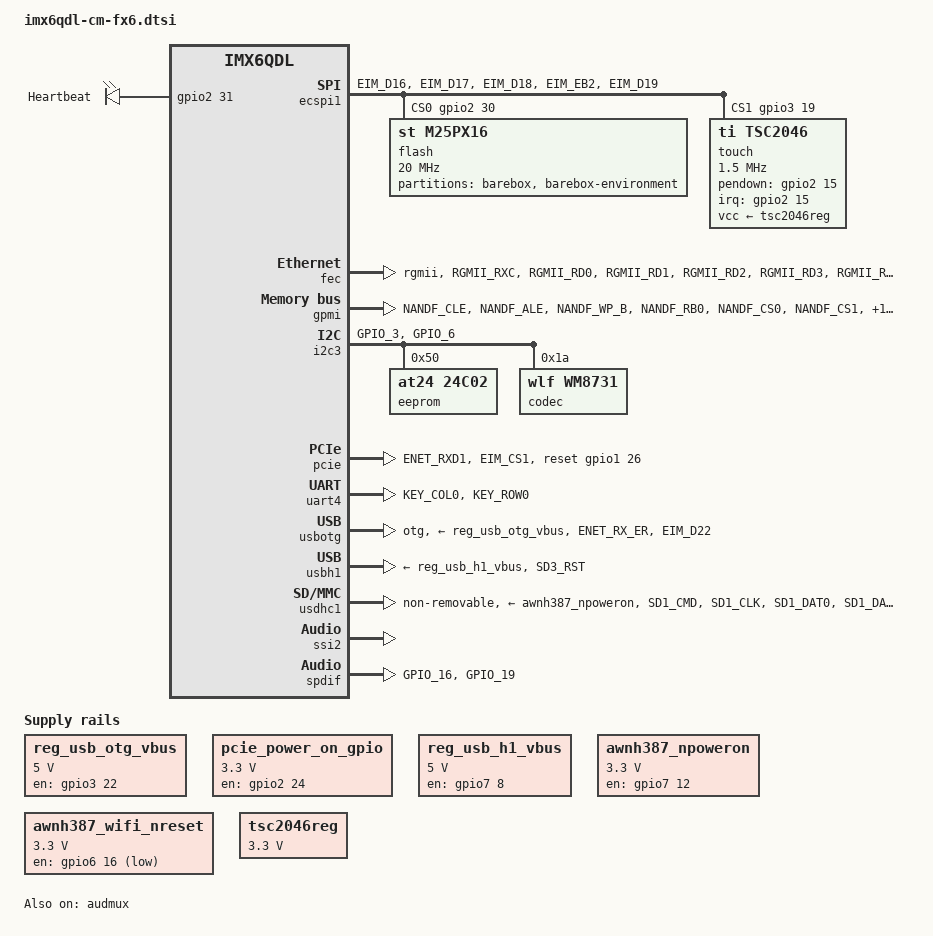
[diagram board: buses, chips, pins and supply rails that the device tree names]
/*
 * Copyright 2014 CompuLab Ltd.
 *
 * Author: Valentin Raevsky <valentin@compulab.co.il>
 *
 * The code contained herein is licensed under the GNU General Public
 * License. You may obtain a copy of the GNU General Public License
 * Version 2 or later at the following locations:
 *
 * http://www.opensource.org/licenses/gpl-license.html
 * http://www.gnu.org/copyleft/gpl.html
 */

/ {
	barebox_environment {
		compatible = "barebox,environment";
		device-path = &barebox_env;
	};

	leds {
		compatible = "gpio-leds";
		heartbeat-led {
			label = "Heartbeat";
			gpios = <&gpio2 31 0>;
			linux,default-trigger = "heartbeat";
		};
	};

	/* regulator for usb otg */
	reg_usb_otg_vbus: usb_otg_vbus {
		compatible = "regulator-fixed";
		regulator-name = "usb_otg_vbus";
		regulator-min-microvolt = <5000000>;
		regulator-max-microvolt = <5000000>;
		gpio = <&gpio3 22 0>;
		enable-active-high;
	};

	/* regulator1 for pcie power-on-gpio */
	pcie_power_on_gpio: regulator-pcie-power-on-gpio {
		compatible = "regulator-fixed";
		regulator-name = "regulator-pcie-power-on-gpio";
		regulator-min-microvolt = <3300000>;
		regulator-max-microvolt = <3300000>;
		gpio = <&gpio2 24 0>;
		enable-active-high;
	};

	/* regulator for usb hub1 */
	reg_usb_h1_vbus: usb_h1_vbus {
		compatible = "regulator-fixed";
		regulator-name = "usb_h1_vbus";
		regulator-min-microvolt = <5000000>;
		regulator-max-microvolt = <5000000>;
		gpio = <&gpio7 8 0>;
		enable-active-high;
	};

	/* regulator1 for wifi/bt */
	awnh387_npoweron: regulator-awnh387-npoweron {
		compatible = "regulator-fixed";
		regulator-name = "regulator-awnh387-npoweron";
		regulator-min-microvolt = <3300000>;
		regulator-max-microvolt = <3300000>;
		gpio = <&gpio7 12 0>;
		enable-active-high;
	};

	/* regulator2 for wifi/bt */
	awnh387_wifi_nreset: regulator-awnh387-wifi-nreset {
		compatible = "regulator-fixed";
		regulator-name = "regulator-awnh387-wifi-nreset";
		regulator-min-microvolt = <3300000>;
		regulator-max-microvolt = <3300000>;
		gpio = <&gpio6 16 0>;
		startup-delay-us = <10000>;
	};

	tsc2046reg: tsc2046-reg {
		compatible = "regulator-fixed";
		regulator-name = "tsc2046-reg";
		regulator-min-microvolt = <3300000>;
		regulator-max-microvolt = <3300000>;
	};
};

&iomuxc {
	pinctrl-names = "default";
	pinctrl-0 = <&pinctrl_hog>;

	hog {
		pinctrl_hog: hoggrp {
			fsl,pins = <
				/* SATA PWR */
				MX6QDL_PAD_ENET_TX_EN__GPIO1_IO28 0x80000000
				MX6QDL_PAD_EIM_A22__GPIO2_IO16 0x80000000
				MX6QDL_PAD_EIM_D20__GPIO3_IO20 0x80000000
				MX6QDL_PAD_EIM_A25__GPIO5_IO02 0x80000000
				/* SATA CTRL */
				MX6QDL_PAD_ENET_TXD0__GPIO1_IO30 0x80000000
				MX6QDL_PAD_EIM_D29__GPIO3_IO29 0x80000000
				MX6QDL_PAD_EIM_A23__GPIO6_IO06 0x80000000
				MX6QDL_PAD_EIM_D23__GPIO3_IO23 0x80000000
				/* POWER_BUTTON */
				MX6QDL_PAD_ENET_TXD1__GPIO1_IO29 0x80000000
			>;
		};
	};

	imx6q-cm-fx6 {
		/* pins for eth0 */
		pinctrl_enet: enetgrp {
			fsl,pins = <
				MX6QDL_PAD_RGMII_RXC__RGMII_RXC      0x1b0b0
				MX6QDL_PAD_RGMII_RD0__RGMII_RD0      0x1b0b0
				MX6QDL_PAD_RGMII_RD1__RGMII_RD1      0x1b0b0
				MX6QDL_PAD_RGMII_RD2__RGMII_RD2      0x1b0b0
				MX6QDL_PAD_RGMII_RD3__RGMII_RD3      0x1b0b0
				MX6QDL_PAD_RGMII_RX_CTL__RGMII_RX_CTL   0x1b0b0
				MX6QDL_PAD_RGMII_TXC__RGMII_TXC      0x1b0b0
				MX6QDL_PAD_RGMII_TD0__RGMII_TD0      0x1b0b0
				MX6QDL_PAD_RGMII_TD1__RGMII_TD1      0x1b0b0
				MX6QDL_PAD_RGMII_TD2__RGMII_TD2      0x1b0b0
				MX6QDL_PAD_RGMII_TD3__RGMII_TD3      0x1b0b0
				MX6QDL_PAD_RGMII_TX_CTL__RGMII_TX_CTL   0x1b0b0
				MX6QDL_PAD_ENET_REF_CLK__ENET_TX_CLK   0x1b0b0
				MX6QDL_PAD_ENET_MDIO__ENET_MDIO      0x1b0b0
				MX6QDL_PAD_ENET_MDC__ENET_MDC      0x1b0b0
			>;
		};

		pinctrl_ipu1_lcd: ipu1grp-lcd {
			fsl,pins = <
				MX6QDL_PAD_DI0_DISP_CLK__IPU1_DI0_DISP_CLK 0x38
				MX6QDL_PAD_DI0_PIN15__IPU1_DI0_PIN15       0x38
				MX6QDL_PAD_DI0_PIN2__IPU1_DI0_PIN02        0x38
				MX6QDL_PAD_DI0_PIN3__IPU1_DI0_PIN03        0x38
				MX6QDL_PAD_DI0_PIN4__IPU1_DI0_PIN04        0x80000028
				MX6QDL_PAD_DISP0_DAT0__IPU1_DISP0_DATA00   0x38
				MX6QDL_PAD_DISP0_DAT1__IPU1_DISP0_DATA01   0x38
				MX6QDL_PAD_DISP0_DAT2__IPU1_DISP0_DATA02   0x38
				MX6QDL_PAD_DISP0_DAT3__IPU1_DISP0_DATA03   0x38
				MX6QDL_PAD_DISP0_DAT4__IPU1_DISP0_DATA04   0x38
				MX6QDL_PAD_DISP0_DAT5__IPU1_DISP0_DATA05   0x38
				MX6QDL_PAD_DISP0_DAT6__IPU1_DISP0_DATA06   0x38
				MX6QDL_PAD_DISP0_DAT7__IPU1_DISP0_DATA07   0x38
				MX6QDL_PAD_DISP0_DAT8__IPU1_DISP0_DATA08   0x38
				MX6QDL_PAD_DISP0_DAT9__IPU1_DISP0_DATA09   0x38
				MX6QDL_PAD_DISP0_DAT10__IPU1_DISP0_DATA10  0x38
				MX6QDL_PAD_DISP0_DAT11__IPU1_DISP0_DATA11  0x38
				MX6QDL_PAD_DISP0_DAT12__IPU1_DISP0_DATA12  0x38
				MX6QDL_PAD_DISP0_DAT13__IPU1_DISP0_DATA13  0x38
				MX6QDL_PAD_DISP0_DAT14__IPU1_DISP0_DATA14  0x38
				MX6QDL_PAD_DISP0_DAT15__IPU1_DISP0_DATA15  0x38
				MX6QDL_PAD_DISP0_DAT16__IPU1_DISP0_DATA16  0x38
				MX6QDL_PAD_DISP0_DAT17__IPU1_DISP0_DATA17  0x38
				MX6QDL_PAD_DISP0_DAT18__IPU1_DISP0_DATA18  0x38
				MX6QDL_PAD_DISP0_DAT19__IPU1_DISP0_DATA19  0x38
				MX6QDL_PAD_DISP0_DAT20__IPU1_DISP0_DATA20  0x38
				MX6QDL_PAD_DISP0_DAT21__IPU1_DISP0_DATA21  0x38
				MX6QDL_PAD_DISP0_DAT22__IPU1_DISP0_DATA22  0x38
				MX6QDL_PAD_DISP0_DAT23__IPU1_DISP0_DATA23  0x38
			>;
		};

		/* pins for spi */
		pinctrl_ecspi1: ecspi1grp {
			fsl,pins = <
				MX6QDL_PAD_EIM_D16__ECSPI1_SCLK      0x100b1
				MX6QDL_PAD_EIM_D17__ECSPI1_MISO      0x100b1
				MX6QDL_PAD_EIM_D18__ECSPI1_MOSI      0x100b1
				MX6QDL_PAD_EIM_EB2__GPIO2_IO30      0x100b1
				MX6QDL_PAD_EIM_D19__GPIO3_IO19      0x100b1
			>;
		};

		/* pins for nand */
		pinctrl_gpmi_nand: gpminandgrp {
			fsl,pins = <
				MX6QDL_PAD_NANDF_CLE__NAND_CLE      0xb0b1
				MX6QDL_PAD_NANDF_ALE__NAND_ALE      0xb0b1
				MX6QDL_PAD_NANDF_WP_B__NAND_WP_B   0xb0b1
				MX6QDL_PAD_NANDF_RB0__NAND_READY_B   0xb000
				MX6QDL_PAD_NANDF_CS0__NAND_CE0_B   0xb0b1
				MX6QDL_PAD_NANDF_CS1__NAND_CE1_B   0xb0b1
				MX6QDL_PAD_SD4_CMD__NAND_RE_B      0xb0b1
				MX6QDL_PAD_SD4_CLK__NAND_WE_B      0xb0b1
				MX6QDL_PAD_NANDF_D0__NAND_DATA00   0xb0b1
				MX6QDL_PAD_NANDF_D1__NAND_DATA01   0xb0b1
				MX6QDL_PAD_NANDF_D2__NAND_DATA02   0xb0b1
				MX6QDL_PAD_NANDF_D3__NAND_DATA03   0xb0b1
				MX6QDL_PAD_NANDF_D4__NAND_DATA04   0xb0b1
				MX6QDL_PAD_NANDF_D5__NAND_DATA05   0xb0b1
				MX6QDL_PAD_NANDF_D6__NAND_DATA06   0xb0b1
				MX6QDL_PAD_NANDF_D7__NAND_DATA07   0xb0b1
				MX6QDL_PAD_SD4_DAT0__NAND_DQS      0x00b1
			>;
		};

		/* pins for i2c2 */
		pinctrl_i2c2: i2c2grp {
			fsl,pins = <
				MX6QDL_PAD_KEY_COL3__I2C2_SCL 0x4001b8b1
				MX6QDL_PAD_KEY_ROW3__I2C2_SDA 0x4001b8b1
			>;
		};

		/* pins for i2c3 */
		pinctrl_i2c3: i2c3grp {
			fsl,pins = <
				MX6QDL_PAD_GPIO_3__I2C3_SCL 0x4001b8b1
				MX6QDL_PAD_GPIO_6__I2C3_SDA 0x4001b8b1
			>;
		};

		/* pins for console */
		pinctrl_uart4: uart4grp {
			fsl,pins = <
				MX6QDL_PAD_KEY_COL0__UART4_TX_DATA   0x1b0b1
				MX6QDL_PAD_KEY_ROW0__UART4_RX_DATA   0x1b0b1
			>;
		};

		/* pins for usb hub1 */
		pinctrl_usbh1: usbh1grp {
			fsl,pins = <
				MX6QDL_PAD_SD3_RST__GPIO7_IO08 0x80000000
			>;
		};

		/* pins for usb otg */
		pinctrl_usbotg: usbotggrp {
			fsl,pins = <
				MX6QDL_PAD_ENET_RX_ER__USB_OTG_ID 0x17059
				MX6QDL_PAD_EIM_D22__GPIO3_IO22 0x80000000
			>;
		};

		/* pins for wifi/bt */
		pinctrl_usdhc1: usdhc1grp {
			fsl,pins = <
				MX6QDL_PAD_SD1_CMD__SD1_CMD    0x17071
				MX6QDL_PAD_SD1_CLK__SD1_CLK    0x10071
				MX6QDL_PAD_SD1_DAT0__SD1_DATA0 0x17071
				MX6QDL_PAD_SD1_DAT1__SD1_DATA1 0x17071
				MX6QDL_PAD_SD1_DAT2__SD1_DATA2 0x17071
				MX6QDL_PAD_SD1_DAT3__SD1_DATA3 0x17071
			>;
		};

		/* pins for wifi/bt */
		pinctrl_mrvl1: mrvl1grp {
			fsl,pins = <
				/* WIFI_PWR_RST */
				MX6QDL_PAD_GPIO_17__GPIO7_IO12	0x80000000
				MX6QDL_PAD_NANDF_CS3__GPIO6_IO16 0x80000000
			>;
		};

		/* pins for tsc2046 pendown */
		pinctrl_tsc2046: tsc2046grp {
			fsl,pins = <
				 /* tsc2046 PENDOWN */
				MX6QDL_PAD_SD4_DAT7__GPIO2_IO15 0x80000000
			>;
		};

		/* pins for pcie */
		pinctrl_pcie: pciegrp {
			fsl,pins = <
				MX6QDL_PAD_ENET_RXD1__GPIO1_IO26 0x80000000
				MX6QDL_PAD_EIM_CS1__GPIO2_IO24 0x80000000
			>;
		};

		/* pins for spdif */
		pinctrl_spdif: spdifgrp {
			fsl,pins = <
				MX6QDL_PAD_GPIO_16__SPDIF_IN  0x1b0b0
				MX6QDL_PAD_GPIO_19__SPDIF_OUT 0x1b0b0
			>;
		};

		/* pins for audmux */
		pinctrl_audmux: audmuxgrp {
			fsl,pins = <
				MX6QDL_PAD_SD2_CMD__AUD4_RXC   0x17059
				MX6QDL_PAD_SD2_DAT0__AUD4_RXD  0x17059
				MX6QDL_PAD_SD2_DAT3__AUD4_TXC  0x17059
				MX6QDL_PAD_SD2_DAT2__AUD4_TXD  0x17059
				MX6QDL_PAD_SD2_DAT1__AUD4_TXFS 0x17059
				/* master mode pin */
				MX6QDL_PAD_GPIO_5__CCM_CLKO1	0x17059
			>;
		};
	};
};

/* spi */
&ecspi1 {
	fsl,spi-num-chipselects = <2>;
	cs-gpios = <&gpio2 30 0>, <&gpio3 19 0>;
	pinctrl-names = "default";
	pinctrl-0 = <&pinctrl_ecspi1>;
	status = "okay";

	flash: m25p80@0 {
		#address-cells = <1>;
		#size-cells = <1>;
		compatible = "st,m25px16", "st,m25p";
		spi-max-frequency = <20000000>;
		reg = <0>;

		partition@0 {
			label = "barebox";
			reg = <0x0 0x100000>;
		};

		barebox_env: partition@100000 {
			label = "barebox-environment";
			reg = <0x100000 0x40000>;
		};
	};

	/* touch controller */
	touch:	tsc2046@1 {
		pinctrl-names = "default";
		pinctrl-0 = <&pinctrl_tsc2046>;

		compatible = "ti,tsc2046";
		vcc-supply = <&tsc2046reg>;

		reg = <1>;	/* CS1 */
		spi-max-frequency = <1500000>;

		interrupt-parent = <&gpio2>;
		interrupts = <15 0>;
		pendown-gpio = <&gpio2 15 0>;

		ti,x-min = /bits/ 16 <0x0>;
		ti,x-max = /bits/ 16 <0x0fff>;
		ti,y-min = /bits/ 16 <0x0>;
		ti,y-max = /bits/ 16 <0x0fff>;

		ti,x-plate-ohms = /bits/ 16 <180>;
		ti,pressure-max = /bits/ 16 <255>;

		ti,debounce-max = /bits/ 16 <30>;
		ti,debounce-tol = /bits/ 16 <10>;
		ti,debounce-rep = /bits/ 16 <1>;

		linux,wakeup;
	};
};

/* eth0 */
&fec {
	pinctrl-names = "default";
	pinctrl-0 = <&pinctrl_enet>;
	phy-mode = "rgmii";
	status = "okay";
};

/* nand */
&gpmi {
	pinctrl-names = "default";
	pinctrl-0 = <&pinctrl_gpmi_nand>;
	status = "okay";

	partition@0 {
		label = "linux";
		reg = <0x0 0x800000>;
	};

	partition@800000 {
		label = "rootfs";
		reg = < 0x800000 0x0>;
	};
};

/* i2c3 */
&i2c3 {
	pinctrl-names = "default";
	pinctrl-0 = <&pinctrl_i2c3>;
	status = "okay";

	eeprom@50 {
		compatible = "at24,24c02";
		reg = <0x50>;
		pagesize = <16>;
	};

	codec: wm8731@1a {
		compatible = "wlf,wm8731";
		reg = <0x1a>;
		clocks = <&clks 173>, <&clks 158>, <&clks 201>, <&clks 200>;
		clock-names = "pll4", "imx-ssi.1", "cko", "cko2";
	};
};

&pcie {
	pinctrl-names = "default";
	pinctrl-0 = <&pinctrl_pcie>;
	reset-gpio = <&gpio1 26 0>;
	vdd-supply = <&pcie_power_on_gpio>;
	status = "okay";
};

/* console */
&uart4 {
	pinctrl-names = "default";
	pinctrl-0 = <&pinctrl_uart4>;
	status = "okay";
};

/* usb otg */
&usbotg {
	vbus-supply = <&reg_usb_otg_vbus>;
	pinctrl-names = "default";
	pinctrl-0 = <&pinctrl_usbotg>;
	dr_mode = "otg";
	status = "okay";
};

/* usb hub1 */
&usbh1 {
	vbus-supply = <&reg_usb_h1_vbus>;
	pinctrl-names = "default";
	pinctrl-0 = <&pinctrl_usbh1>;
	status = "okay";
};

/* wifi/bt */
&usdhc1 {
	pinctrl-names = "default";
	pinctrl-0 = <&pinctrl_usdhc1>, <&pinctrl_mrvl1>;
	non-removable;
	vmmc-supply = <&awnh387_npoweron>;
	vmmc_aux-supply = <&awnh387_wifi_nreset>;
	status = "okay";
};

&ssi2 {
	fsl,mode = "i2s-master";
	status = "okay";
};

&spdif {
	pinctrl-names = "default";
	pinctrl-0 = <&pinctrl_spdif>;
	status = "okay";
};

&audmux {
	pinctrl-names = "default";
	pinctrl-0 = <&pinctrl_audmux>;
	status = "okay";
};
